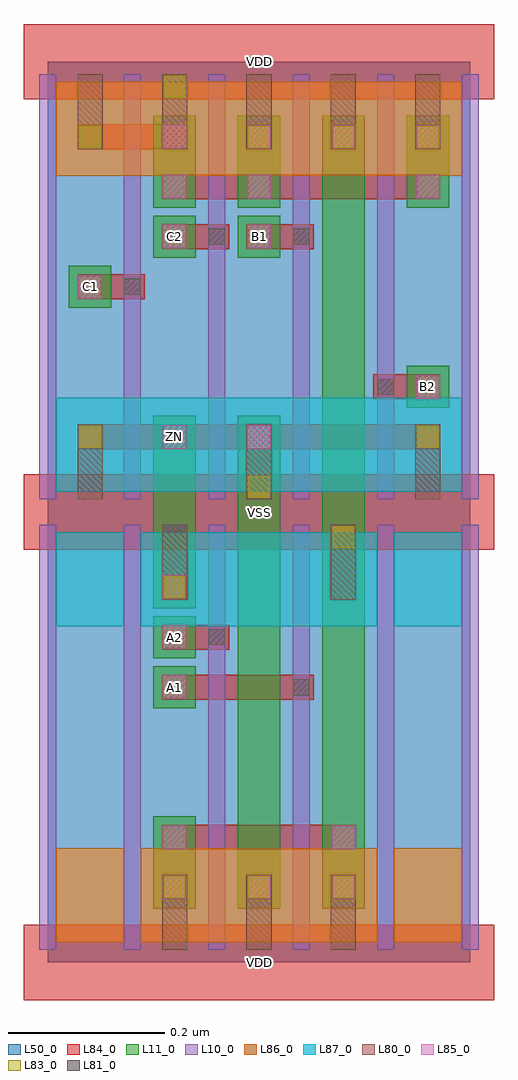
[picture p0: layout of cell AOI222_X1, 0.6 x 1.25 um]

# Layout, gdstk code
import gdstk
lib = gdstk.Library(unit=1e-6, precision=1e-09)
def R(c, l, rs):  # rectangles x0, y0, x1, y1
    for r in rs: c.add(gdstk.rectangle(r[:2], r[2:], *l))
def A(c, l, x, y, w, h, nx, ny, dx, dy):  # array of equal rectangles
    R(c, l, [(x+i*dx, y+j*dy, x+i*dx+w, y+j*dy+h) for i in range(nx) for j in range(ny)])
L10_0 = (10, 0)
L11_0 = (11, 0)
L50_0 = (50, 0)
L80_0 = (80, 0)
L81_0 = (81, 0)
L83_0 = (83, 0)
L84_0 = (84, 0)
L85_0 = (85, 0)
L86_0 = (86, 0)
L87_0 = (87, 0)

aoi222_x1 = lib.new_cell('AOI222_X1')
A(aoi222_x1, L10_0, -0.011, 0.016, 0.022, 0.544, 6, 2, 0.108, 0.576)
R(aoi222_x1, L11_0, [(0.135,0.069,0.189,0.187), (0.243,0.069,0.297,0.699), (0.351,0.069,0.405,1.083), (0.135,0.325,0.189,0.379), (0.135,0.389,0.189,0.443), (0.135,0.453,0.189,0.699), (0.459,0.709,0.513,0.763), (0.027,0.837,0.081,0.891), (0.135,0.901,0.189,0.955), (0.243,0.901,0.297,0.955), (0.135,0.965,0.189,1.083), (0.243,0.965,0.297,1.083), (0.459,0.965,0.513,1.083)])
R(aoi222_x1, L50_0, [(0,0,0.54,1.152)])
A(aoi222_x1, L80_0, 0.146, 0.016, 0.032, 0.096, 3, 1, 0.108, 0)
A(aoi222_x1, L80_0, 0.038, 0.592, 0.032, 0.096, 3, 1, 0.216, 0)
A(aoi222_x1, L80_0, 0.038, 1.04, 0.032, 0.096, 5, 1, 0.108, 0)
R(aoi222_x1, L80_0, [(0.146,0.464,0.178,0.56), (0.362,0.464,0.394,0.56)])
R(aoi222_x1, L81_0, [(0.314,0.342,0.334,0.362), (0.206,0.406,0.226,0.426), (0.422,0.726,0.442,0.746), (0.098,0.854,0.118,0.874), (0.206,0.918,0.226,0.938), (0.314,0.918,0.334,0.938)])
A(aoi222_x1, L83_0, 0.148, 0.082, 0.028, 0.028, 3, 1, 0.108, 0)
A(aoi222_x1, L83_0, 0.256, 1.042, 0.028, 0.028, 3, 1, 0.108, 0)
R(aoi222_x1, L83_0, [(0.148,0.466,0.176,0.494), (0.364,0.53,0.392,0.558), (0.256,0.594,0.284,0.622), (0.04,0.658,0.068,0.686), (0.472,0.658,0.5,0.686), (0.04,1.042,0.068,1.07), (0.148,1.106,0.176,1.134)])
A(aoi222_x1, L84_0, -0.031, -0.048, 0.602, 0.096, 1, 3, 0, 0.576)
A(aoi222_x1, L84_0, 0.146, 0.08, 0.032, 0.032, 3, 1, 0.108, 0)
A(aoi222_x1, L84_0, 0.254, 1.04, 0.032, 0.032, 3, 1, 0.108, 0)
R(aoi222_x1, L84_0, [(0.146,0.144,0.394,0.176), (0.146,0.336,0.34,0.368), (0.146,0.4,0.232,0.432), (0.146,0.464,0.178,0.496), (0.038,0.656,0.502,0.688), (0.416,0.72,0.502,0.752), (0.038,0.848,0.124,0.88), (0.146,0.912,0.232,0.944), (0.254,0.912,0.34,0.944), (0.146,0.976,0.502,1.008), (0.038,1.04,0.178,1.072)])
A(aoi222_x1, L85_0, 0.147, 0.081, 0.03, 0.03, 3, 1, 0.108, 0)
A(aoi222_x1, L85_0, 0.147, 0.337, 0.03, 0.03, 1, 3, 0, 0.064)
A(aoi222_x1, L85_0, 0.147, 1.041, 0.03, 0.03, 4, 1, 0.108, 0)
R(aoi222_x1, L85_0, [(0.147,0.145,0.177,0.175), (0.363,0.145,0.393,0.175), (0.147,0.657,0.177,0.687), (0.255,0.657,0.285,0.687), (0.471,0.721,0.501,0.751), (0.039,0.849,0.069,0.879), (0.147,0.913,0.177,0.943), (0.255,0.913,0.285,0.943), (0.147,0.977,0.177,1.007), (0.255,0.977,0.285,1.007), (0.471,0.977,0.501,1.007)])
R(aoi222_x1, L86_0, [(0.011,0.026,0.097,0.146), (0.119,0.026,0.421,0.146), (0.443,0.026,0.529,0.146), (0.011,1.006,0.529,1.126)])
R(aoi222_x1, L87_0, [(0.011,0.43,0.097,0.55), (0.119,0.43,0.421,0.55), (0.443,0.43,0.529,0.55), (0.011,0.602,0.529,0.722)])
aoi222_x1.add(gdstk.Label('VSS', (0.27,0.576), layer=88, texttype=0))
aoi222_x1.add(gdstk.Label('VDD', (0.27,0), layer=88, texttype=0))
aoi222_x1.add(gdstk.Label('VDD', (0.27,1.152), layer=88, texttype=0))
aoi222_x1.add(gdstk.Label('C2', (0.162,0.928), layer=31, texttype=0))
aoi222_x1.add(gdstk.Label('B1', (0.27,0.928), layer=31, texttype=0))
aoi222_x1.add(gdstk.Label('C1', (0.054,0.864), layer=31, texttype=0))
aoi222_x1.add(gdstk.Label('B2', (0.486,0.736), layer=31, texttype=0))
aoi222_x1.add(gdstk.Label('A1', (0.162,0.352), layer=31, texttype=0))
aoi222_x1.add(gdstk.Label('A2', (0.162,0.416), layer=31, texttype=0))
aoi222_x1.add(gdstk.Label('ZN', (0.162,0.672), layer=31, texttype=0))

lib.write_gds('AOI222_X1.gds')
